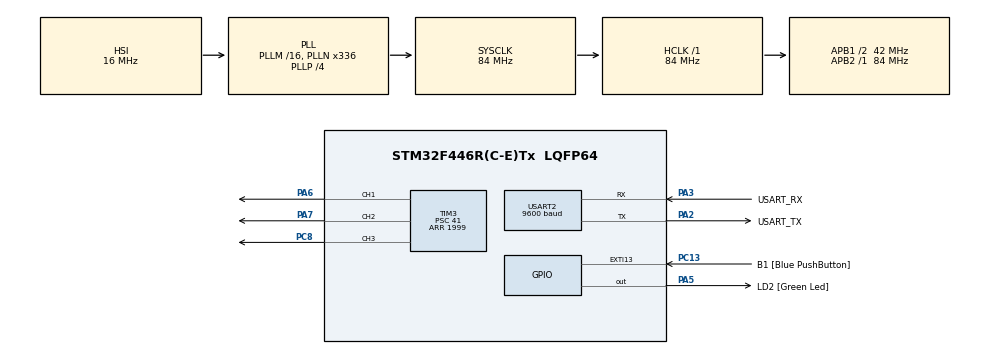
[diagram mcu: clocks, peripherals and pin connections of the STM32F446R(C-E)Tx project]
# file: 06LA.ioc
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Mcu.Family=STM32F4
Mcu.Name=STM32F446R(C-E)Tx
Mcu.Package=LQFP64
NVIC.PriorityGroup=NVIC_PRIORITYGROUP_4
NVIC.USART2_IRQn=true\:0\:0\:false\:false\:true\:true\:true\:true
PA13.GPIO_Label=TMS
PA13.Signal=SYS_JTMS-SWDIO
PA14.GPIO_Label=TCK
PA14.Signal=SYS_JTCK-SWCLK
PA2.GPIO_Label=USART_TX
PA2.Mode=Asynchronous
PA2.Signal=USART2_TX
PA3.GPIO_Label=USART_RX
PA3.Mode=Asynchronous
PA3.Signal=USART2_RX
PA5.GPIO_Label=LD2 [Green Led]
PA5.Signal=GPIO_Output
PA6.Signal=S_TIM3_CH1
PA7.Signal=S_TIM3_CH2
PB3.GPIO_Label=SWO
PB3.Signal=SYS_JTDO-SWO
PC13.GPIO_Label=B1 [Blue PushButton]
PC13.GPIO_ModeDefaultEXTI=GPIO_MODE_IT_FALLING
PC13.Signal=GPXTI13
PC14-OSC32_IN.Signal=RCC_OSC32_IN
PC15-OSC32_OUT.Signal=RCC_OSC32_OUT
PC8.Signal=S_TIM3_CH3
PH0-OSC_IN.Signal=RCC_OSC_IN
PH1-OSC_OUT.Signal=RCC_OSC_OUT
ProjectManager.HeapSize=0x200
ProjectManager.StackSize=0x400
ProjectManager.TargetToolchain=STM32CubeIDE
RCC.AHBFreq_Value=84000000
RCC.APB1CLKDivider=RCC_HCLK_DIV2
RCC.APB1Freq_Value=42000000
RCC.APB1TimFreq_Value=84000000
RCC.APB2Freq_Value=84000000
RCC.APB2TimFreq_Value=84000000
RCC.CortexFreq_Value=84000000
RCC.FLatency-AdvancedSettings=FLASH_LATENCY_2
RCC.HCLKFreq_Value=84000000
RCC.HSE_VALUE=8000000
RCC.HSI_VALUE=16000000
RCC.LSE_VALUE=32768
RCC.PLLN=336
RCC.PLLP=RCC_PLLP_DIV4
RCC.SYSCLKFreq_VALUE=84000000
RCC.SYSCLKSource=RCC_SYSCLKSOURCE_PLLCLK
RCC.USBFreq_Value=168000000
RCC.VCOOutputFreq_Value=336000000
SH.S_TIM3_CH1.0=TIM3_CH1,PWM Generation1 CH1
SH.S_TIM3_CH2.0=TIM3_CH2,PWM Generation2 CH2
SH.S_TIM3_CH3.0=TIM3_CH3,PWM Generation3 CH3
TIM3.Channel-PWM\ Generation1\ CH1=TIM_CHANNEL_1
TIM3.Channel-PWM\ Generation2\ CH2=TIM_CHANNEL_2
TIM3.Channel-PWM\ Generation3\ CH3=TIM_CHANNEL_3
TIM3.OCPolarity_1=TIM_OCPOLARITY_LOW
TIM3.OCPolarity_2=TIM_OCPOLARITY_LOW
TIM3.OCPolarity_3=TIM_OCPOLARITY_LOW
TIM3.Period=1999
TIM3.Prescaler=41
TIM3.Pulse-PWM\ Generation1\ CH1=0
TIM3.Pulse-PWM\ Generation2\ CH2=0
TIM3.Pulse-PWM\ Generation3\ CH3=0
USART2.BaudRate=9600
USART2.VirtualMode=VM_ASYNC
VP_TIM3_VS_ClockSourceINT.Mode=Internal
board=NUCLEO-F446RE

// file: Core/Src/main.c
/* USER CODE BEGIN Header */
/**
  ******************************************************************************
  * @file           : main.c
  * @brief          : Main program body
  ******************************************************************************
  * @attention
  *
  * Copyright (c) 2025 STMicroelectronics.
  * All rights reserved.
  *
  * This software is licensed under terms that can be found in the LICENSE file
  * in the root directory of this software component.
  * If no LICENSE file comes with this software, it is provided AS-IS.
  *
  ******************************************************************************
  */
/* USER CODE END Header */
#include "main.h"

/* USER CODE BEGIN Includes */
#include <stdio.h>
#include <string.h>

/* USER CODE END Includes */

TIM_HandleTypeDef htim3;

UART_HandleTypeDef huart2;

/* USER CODE BEGIN PV */

uint8_t ui8Rx;

uint16_t ui16R, ui16G, ui16B;

uint8_t ui8NewValue = 1;

char chTXBuffer[100];

/* USER CODE END PV */

void SystemClock_Config(void);
static void MX_GPIO_Init(void);
static void MX_TIM3_Init(void);
static void MX_USART2_UART_Init(void);

int main(void)
{

  /* MCU Configuration--------------------------------------------------------*/

  /* Reset of all peripherals, Initializes the Flash interface and the Systick. */
  HAL_Init();

  /* Configure the system clock */
  SystemClock_Config();

  /* Initialize all configured peripherals */
  MX_GPIO_Init();
  MX_TIM3_Init();
  MX_USART2_UART_Init();
  /* USER CODE BEGIN 2 */

  HAL_TIM_PWM_Start(&htim3, TIM_CHANNEL_1);
  HAL_TIM_PWM_Start(&htim3, TIM_CHANNEL_2);
  HAL_TIM_PWM_Start(&htim3, TIM_CHANNEL_3);

  HAL_UART_Receive_IT(&huart2, &ui8Rx, 1);

  /* USER CODE END 2 */

  /* Infinite loop */
  /* USER CODE BEGIN WHILE */
  while (1)
  {
	  if(ui8NewValue)
	  {
		  ui8NewValue = 0;
		  sprintf(chTXBuffer,"R=%d, G=%d, B=%d\r\n",ui16R, ui16G,ui16B);
		  HAL_UART_Transmit(&huart2, (uint8_t*)chTXBuffer, strlen(chTXBuffer), HAL_MAX_DELAY);
	  }
    /* USER CODE END WHILE */

  }
}

void SystemClock_Config(void)
{
  RCC_OscInitTypeDef RCC_OscInitStruct = {0};
  RCC_ClkInitTypeDef RCC_ClkInitStruct = {0};

  /** Configure the main internal regulator output voltage
  */
  __HAL_RCC_PWR_CLK_ENABLE();
  __HAL_PWR_VOLTAGESCALING_CONFIG(PWR_REGULATOR_VOLTAGE_SCALE3);

  /** Initializes the RCC Oscillators according to the specified parameters
  * in the RCC_OscInitTypeDef structure.
  */
  RCC_OscInitStruct.OscillatorType = RCC_OSCILLATORTYPE_HSI;
  RCC_OscInitStruct.HSIState = RCC_HSI_ON;
  RCC_OscInitStruct.HSICalibrationValue = RCC_HSICALIBRATION_DEFAULT;
  RCC_OscInitStruct.PLL.PLLState = RCC_PLL_ON;
  RCC_OscInitStruct.PLL.PLLSource = RCC_PLLSOURCE_HSI;
  RCC_OscInitStruct.PLL.PLLM = 16;
  RCC_OscInitStruct.PLL.PLLN = 336;
  RCC_OscInitStruct.PLL.PLLP = RCC_PLLP_DIV4;
  RCC_OscInitStruct.PLL.PLLQ = 2;
  RCC_OscInitStruct.PLL.PLLR = 2;
  if (HAL_RCC_OscConfig(&RCC_OscInitStruct) != HAL_OK)
  {
    Error_Handler();
  }

  /** Initializes the CPU, AHB and APB buses clocks
  */
  RCC_ClkInitStruct.ClockType = RCC_CLOCKTYPE_HCLK|RCC_CLOCKTYPE_SYSCLK
                              |RCC_CLOCKTYPE_PCLK1|RCC_CLOCKTYPE_PCLK2;
  RCC_ClkInitStruct.SYSCLKSource = RCC_SYSCLKSOURCE_PLLCLK;
  RCC_ClkInitStruct.AHBCLKDivider = RCC_SYSCLK_DIV1;
  RCC_ClkInitStruct.APB1CLKDivider = RCC_HCLK_DIV2;
  RCC_ClkInitStruct.APB2CLKDivider = RCC_HCLK_DIV1;

  if (HAL_RCC_ClockConfig(&RCC_ClkInitStruct, FLASH_LATENCY_2) != HAL_OK)
  {
    Error_Handler();
  }
}

static void MX_TIM3_Init(void)
{

  TIM_ClockConfigTypeDef sClockSourceConfig = {0};
  TIM_MasterConfigTypeDef sMasterConfig = {0};
  TIM_OC_InitTypeDef sConfigOC = {0};

  htim3.Instance = TIM3;
  htim3.Init.Prescaler = 41;
  htim3.Init.CounterMode = TIM_COUNTERMODE_UP;
  htim3.Init.Period = 1999;
  htim3.Init.ClockDivision = TIM_CLOCKDIVISION_DIV1;
  htim3.Init.AutoReloadPreload = TIM_AUTORELOAD_PRELOAD_DISABLE;
  if (HAL_TIM_Base_Init(&htim3) != HAL_OK)
  {
    Error_Handler();
  }
  sClockSourceConfig.ClockSource = TIM_CLOCKSOURCE_INTERNAL;
  if (HAL_TIM_ConfigClockSource(&htim3, &sClockSourceConfig) != HAL_OK)
  {
    Error_Handler();
  }
  if (HAL_TIM_PWM_Init(&htim3) != HAL_OK)
  {
    Error_Handler();
  }
  sMasterConfig.MasterOutputTrigger = TIM_TRGO_RESET;
  sMasterConfig.MasterSlaveMode = TIM_MASTERSLAVEMODE_DISABLE;
  if (HAL_TIMEx_MasterConfigSynchronization(&htim3, &sMasterConfig) != HAL_OK)
  {
    Error_Handler();
  }
  sConfigOC.OCMode = TIM_OCMODE_PWM1;
  sConfigOC.Pulse = 0;
  sConfigOC.OCPolarity = TIM_OCPOLARITY_LOW;
  sConfigOC.OCFastMode = TIM_OCFAST_DISABLE;
  if (HAL_TIM_PWM_ConfigChannel(&htim3, &sConfigOC, TIM_CHANNEL_1) != HAL_OK)
  {
    Error_Handler();
  }
  if (HAL_TIM_PWM_ConfigChannel(&htim3, &sConfigOC, TIM_CHANNEL_2) != HAL_OK)
  {
    Error_Handler();
  }
  if (HAL_TIM_PWM_ConfigChannel(&htim3, &sConfigOC, TIM_CHANNEL_3) != HAL_OK)
  {
    Error_Handler();
  }
  HAL_TIM_MspPostInit(&htim3);

}

static void MX_USART2_UART_Init(void)
{

  huart2.Instance = USART2;
  huart2.Init.BaudRate = 9600;
  huart2.Init.WordLength = UART_WORDLENGTH_8B;
  huart2.Init.StopBits = UART_STOPBITS_1;
  huart2.Init.Parity = UART_PARITY_NONE;
  huart2.Init.Mode = UART_MODE_TX_RX;
  huart2.Init.HwFlowCtl = UART_HWCONTROL_NONE;
  huart2.Init.OverSampling = UART_OVERSAMPLING_16;
  if (HAL_UART_Init(&huart2) != HAL_OK)
  {
    Error_Handler();
  }

}

static void MX_GPIO_Init(void)
{
  GPIO_InitTypeDef GPIO_InitStruct = {0};

  /* GPIO Ports Clock Enable */
  __HAL_RCC_GPIOC_CLK_ENABLE();
  __HAL_RCC_GPIOH_CLK_ENABLE();
  __HAL_RCC_GPIOA_CLK_ENABLE();
  __HAL_RCC_GPIOB_CLK_ENABLE();

  /*Configure GPIO pin Output Level */
  HAL_GPIO_WritePin(LD2_GPIO_Port, LD2_Pin, GPIO_PIN_RESET);

  /*Configure GPIO pin : B1_Pin */
  GPIO_InitStruct.Pin = B1_Pin;
  GPIO_InitStruct.Mode = GPIO_MODE_IT_FALLING;
  GPIO_InitStruct.Pull = GPIO_NOPULL;
  HAL_GPIO_Init(B1_GPIO_Port, &GPIO_InitStruct);

  /*Configure GPIO pin : LD2_Pin */
  GPIO_InitStruct.Pin = LD2_Pin;
  GPIO_InitStruct.Mode = GPIO_MODE_OUTPUT_PP;
  GPIO_InitStruct.Pull = GPIO_NOPULL;
  GPIO_InitStruct.Speed = GPIO_SPEED_FREQ_LOW;
  HAL_GPIO_Init(LD2_GPIO_Port, &GPIO_InitStruct);

}

/* USER CODE BEGIN 4 */

void HAL_UART_RxCpltCallback(UART_HandleTypeDef *huart)
{
  /* Prevent unused argument(s) compilation warning */
  UNUSED(huart);
  /* NOTE: This function should not be modified, when the callback is needed,
           the HAL_UART_RxCpltCallback could be implemented in the user file
   */

  if(ui8Rx == 'R')
  {	// increment R
	  if(ui16R < 1990)
	  {
		  ui8NewValue = 1;
		  ui16R += 10;
		  __HAL_TIM_SET_COMPARE(&htim3, TIM_CHANNEL_1, ui16R);
	  }
  }

  if(ui8Rx == 'r')
	{	// decrement R
	  if(ui16R > 9 )
	  {
		  ui8NewValue = 1;
		  ui16R -= 10;
		  __HAL_TIM_SET_COMPARE(&htim3, TIM_CHANNEL_1, ui16R);
	  }
	}

  if(ui8Rx == 'G')
    {	// increment G
  	  if(ui16G < 1990)
  	  {
  		ui8NewValue = 1;
  		  ui16G += 10;
  		  __HAL_TIM_SET_COMPARE(&htim3, TIM_CHANNEL_2, ui16G);
  	  }
    }

    if(ui8Rx == 'g')
  	{	// decrement G
  	  if(ui16G > 9 )
  	  {
  		ui8NewValue = 1;
  		  ui16G -= 10;
  		  __HAL_TIM_SET_COMPARE(&htim3, TIM_CHANNEL_2, ui16G);
  	  }
  	}

    if(ui8Rx == 'B')
	{	// increment B
	  if(ui16B < 1990)
	  {
		  ui8NewValue = 1;
		  ui16B += 10;
		  __HAL_TIM_SET_COMPARE(&htim3, TIM_CHANNEL_3, ui16B);
	  }
	}

	if(ui8Rx == 'b')
	{	// decrement B
	  if(ui16B > 9 )
	  {
		  ui8NewValue = 1;
		  ui16B -= 10;
		  __HAL_TIM_SET_COMPARE(&htim3, TIM_CHANNEL_3, ui16B);
	  }
	}

  HAL_UART_Receive_IT(&huart2, &ui8Rx, 1);
}

/* USER CODE END 4 */

void Error_Handler(void)
{
  __disable_irq();
  while (1)
  {
  }
}
